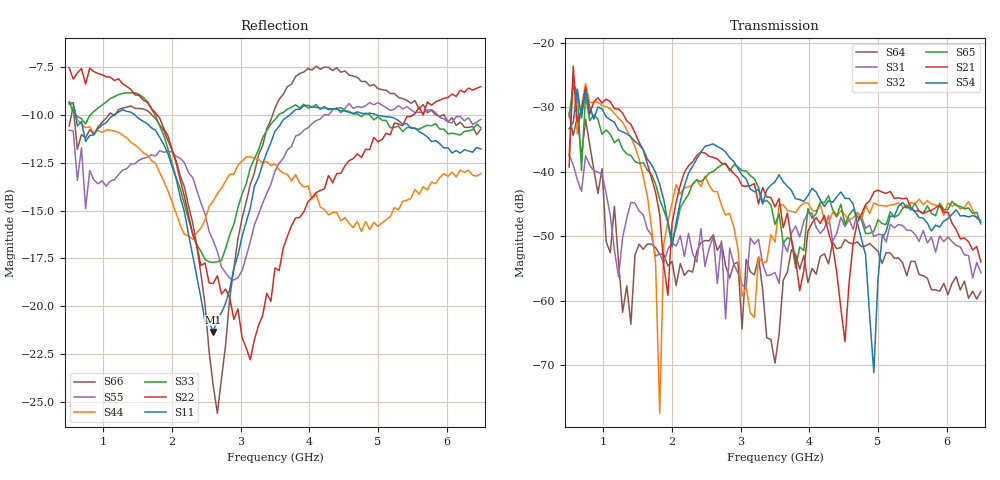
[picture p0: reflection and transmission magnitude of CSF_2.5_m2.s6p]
!Keysight Technologies,M9804A,MY58100912,A.14.10.03
!Date: Thursday, April 27, 2023 10:28:33
!Correction: S11(C  6-Port  )
!S12(C  6-Port  )
!S13(C  6-Port  )
!S14(C  6-Port  )
!S15(C  6-Port  )
!S16(C  6-Port  )
!S21(C  6-Port  )
!S22(C  6-Port  )
!S23(C  6-Port  )
!S24(C  6-Port  )
!S25(C  6-Port  )
!S26(C  6-Port  )
!S31(C  6-Port  )
!S32(C  6-Port  )
!S33(C  6-Port  )
!S34(C  6-Port  )
!S35(C  6-Port  )
!S36(C  6-Port  )
!S41(C  6-Port  )
!S42(C  6-Port  )
!S43(C  6-Port  )
!S44(C  6-Port  )
!S45(C  6-Port  )
!S46(C  6-Port  )
!S51(C  6-Port  )
!S52(C  6-Port  )
!S53(C  6-Port  )
!S54(C  6-Port  )
!S55(C  6-Port  )
!S56(C  6-Port  )
!S61(C  6-Port  )
!S62(C  6-Port  )
!S63(C  6-Port  )
!S64(C  6-Port  )
!S65(C  6-Port  )
!S66(C  6-Port  )
!S6P File: Measurement: :
# Hz S  RI  R 50
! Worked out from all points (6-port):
!   101 points, 500 MHz to 6.5 GHz, reference 50 ohm
!   strongest paths, dB at 500 MHz, 2 GHz, 3.5 GHz, 5 GHz, 6.5 GHz:
!     S54: -33.3, -51.6, -41.6, -56.7, -47.9
!     S21: -39.3, -48.0, -45.4, -42.8, -54.0
!     S65: -31.4, -50.6, -48.2, -47.4, -48.1
!     S32: -37.5, -44.8, -50.9, -45.2, -47.5
!     S31: -37.3, -51.0, -55.6, -49.7, -55.6
!     S64: -30.9, -53.9, -69.6, -52.3, -58.6
!   lowest |S11| = -21.4 dB at 2.6 GHz (marker M1), VSWR 1.19, Z = 42.4 + j2.3 ohm
!   |S11| at or under -10 dB: 592 MHz to 1.147 GHz (555.1 MHz wide, 63.8 % of centre); 1.46 GHz to 3.71 GHz (2.25 GHz wide, 87 % of centre); 4.988 GHz to end of sweep
